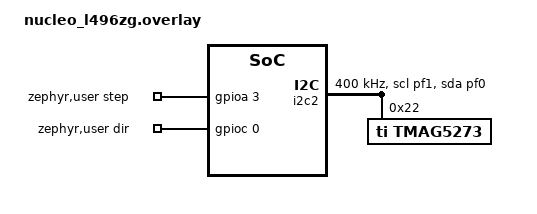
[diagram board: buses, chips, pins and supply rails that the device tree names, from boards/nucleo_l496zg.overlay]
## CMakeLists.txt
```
# SPDX-License-Identifier: Apache-2.0
cmake_minimum_required(VERSION 3.20.0)

find_package(Zephyr REQUIRED HINTS $ENV{ZEPHYR_BASE})
project(step_sensor)

target_sources(app PRIVATE src/main.c)
```

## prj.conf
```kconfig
CONFIG_I2C=y
CONFIG_SENSOR=y
CONFIG_LOG=y
CONFIG_SHELL=y


CONFIG_I2C_SHELL=y           # Enable I2C shell for debugging

# Optional: If using a specific sensor (e.g., TMP117, BME280, etc.)
CONFIG_TMAG5273=y              # Enable a specific I2C sensor (example)
CONFIG_SENSOR_SHELL=y        # Enable sensor shell for debugging sensors
CONFIG_LOG_DEFAULT_LEVEL=3
```

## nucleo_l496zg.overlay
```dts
&i2c2 {
	pinctrl-0 = <&i2c2_scl_pf1 &i2c2_sda_pf0>;
	pinctrl-names = "default";
	status = "okay";
	clock-frequency = <I2C_BITRATE_FAST>;

	tmag5273:tmag5273@22{
		compatible = "ti,tmag5273";
		status ="okay";
		reg = <0x22>;
		//int-gpios = <&test_gpio 15 1>:

		operation-mode = <TMAG5273_DT_OPER_MODE_CONTINUOUS>;
		angle-magnitude-axis = <TMAG5273_DT_ANGLE_MAG_XY>;
	};
};
```

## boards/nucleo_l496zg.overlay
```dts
#include <zephyr/dt-bindings/gpio/gpio.h>

/ {
    zephyr,user {
        step-gpios= <&gpioa 3 GPIO_ACTIVE_HIGH>;
        dir-gpios= <&gpioc 0 GPIO_ACTIVE_HIGH>;
     };
};

&i2c2 {
	pinctrl-0 = <&i2c2_scl_pf1 &i2c2_sda_pf0>;
	pinctrl-names = "default";
	status = "okay";
	clock-frequency = <I2C_BITRATE_FAST>;

	tmag5273:tmag5273@22{
		compatible = "ti,tmag5273";
		status ="okay";
		reg = <0x22>;
		//int-gpios = <&test_gpio 15 1>:

		operation-mode = <TMAG5273_DT_OPER_MODE_CONTINUOUS>;
		angle-magnitude-axis = <TMAG5273_DT_ANGLE_MAG_XY>;
	};
};
```

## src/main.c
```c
#include <zephyr/drivers/gpio.h>
#include <zephyr/kernel.h>
#include <zephyr/device.h>
#include <zephyr/drivers/sensor.h>
#include <zephyr/logging/log.h>
#include <zephyr/shell/shell.h>
#include <stdlib.h>

LOG_MODULE_REGISTER(main);

// Define stepper motor parameters
#define STEPS 500
#define STEP_DELAY 10 // Step delay in milliseconds
#define MAX_DATA_POINTS 100 // Maximum data points to collect

#define ZEPHYR_USER_NODE DT_PATH(zephyr_user)

const struct gpio_dt_spec step = GPIO_DT_SPEC_GET(ZEPHYR_USER_NODE, step_gpios);
const struct gpio_dt_spec dir = GPIO_DT_SPEC_GET(ZEPHYR_USER_NODE, dir_gpios);

const struct device *sensor = DEVICE_DT_GET_ANY(ti_tmag5273);

// Structure to store sensor data
struct sensor_data {
    int x;
    int y;
    int z;
};

// Array to store sensor data for each step
struct sensor_data sensor_values[MAX_DATA_POINTS];
int data_count = 0; // Counter to keep track of stored steps

// Function to store sensor data for up to 100 steps
void store_sensor_data(void)
{
    if (data_count >= MAX_DATA_POINTS) {
        LOG_INF("Data collection complete, reached maximum steps of %d", MAX_DATA_POINTS);
        return;
    }

    struct sensor_value value_x, value_y, value_z;

    if (sensor_sample_fetch(sensor) == 0 &&
        sensor_channel_get(sensor, SENSOR_CHAN_MAGN_X, &value_x) == 0 &&
        sensor_channel_get(sensor, SENSOR_CHAN_MAGN_Y, &value_y) == 0 &&
        sensor_channel_get(sensor, SENSOR_CHAN_MAGN_Z, &value_z) == 0) {

        sensor_values[data_count].x = value_x.val1;
        sensor_values[data_count].y = value_y.val1;
        sensor_values[data_count].z = value_z.val1;

        LOG_INF("Stored step %d - X: %d, Y: %d, Z: %d", data_count + 1, 
                sensor_values[data_count].x, 
                sensor_values[data_count].y, 
                sensor_values[data_count].z);

        data_count++;
    }
}

// Function to move motor in specified direction and steps
static int motor_mv_steps(bool bwd, int n)
{
    gpio_pin_set_dt(&dir, bwd); // Set motor direction
    for (int i = 0; i < n; i++) {
        gpio_pin_set_dt(&step, 1); // Pulse step pin high
        k_msleep(STEP_DELAY);
        gpio_pin_set_dt(&step, 0); // Pulse step pin low
        k_msleep(STEP_DELAY);

        if (data_count < MAX_DATA_POINTS) {
            store_sensor_data(); // Store sensor data after each step
        }
    }
    return 0;
}

// Shell command to move motor forward
static int cmd_motor_fwd(const struct shell *sh, size_t argc, char **argv)
{
    char *endptr;
    int n = (int)(strtol)(argv[1], &endptr, 10);
    shell_print(sh, "Motor fwd %d", n);
    motor_mv_steps(false, n); // Move forward
    return 0;
}

// Shell command to move motor backward
static int cmd_motor_bwd(const struct shell *sh, size_t argc, char **argv)
{
    char *endptr;
    int n = (int)(strtol)(argv[1], &endptr, 10);
    shell_print(sh, "Motor bwd %d", n);
    motor_mv_steps(true, n); // Move backward
    return 0;
}

// Define shell commands
SHELL_STATIC_SUBCMD_SET_CREATE(sub_demo,
    SHELL_CMD(fwd, NULL, "Motor towards sensor.", cmd_motor_fwd),
    SHELL_CMD(bwd, NULL, "Motor away from sensor.", cmd_motor_bwd),
    SHELL_SUBCMD_SET_END
);
SHELL_CMD_REGISTER(motor, &sub_demo, "Motor commands", NULL);

// Sensor measurement thread
void sensor_thread(void)
{
    if (sensor == NULL || !device_is_ready(sensor)) {
        LOG_ERR("TMAG5273 sensor not found or not ready");
        return;
    }

    struct sensor_value value;

    while (1) {
        if (sensor_sample_fetch(sensor) < 0) {
            LOG_ERR("Failed to fetch sensor sample");
            continue;
        }

        if (sensor_channel_get(sensor, SENSOR_CHAN_MAGN_X, &value) == 0) {
            LOG_INF("Magnetometer X-axis: %d", value.val1);
        }
        if (sensor_channel_get(sensor, SENSOR_CHAN_MAGN_Y, &value) == 0) {
            LOG_INF("Magnetometer Y-axis: %d", value.val1);
        }
        if (sensor_channel_get(sensor, SENSOR_CHAN_MAGN_Z, &value) == 0) {
            LOG_INF("Magnetometer Z-axis: %d", value.val1);
        }

        k_sleep(K_MSEC(1000)); // Delay for next sensor read
    }
}

// Thread definitions
K_THREAD_DEFINE(sensor_tid, 1024, sensor_thread, NULL, NULL, NULL, 5, 0, 0);

int main(void)
{
    LOG_INF("Stepper motor and TMAG5273 sensor application started");

    gpio_pin_configure_dt(&step, GPIO_OUTPUT_INACTIVE);
    gpio_pin_configure_dt(&dir, GPIO_OUTPUT_INACTIVE);
}
```
